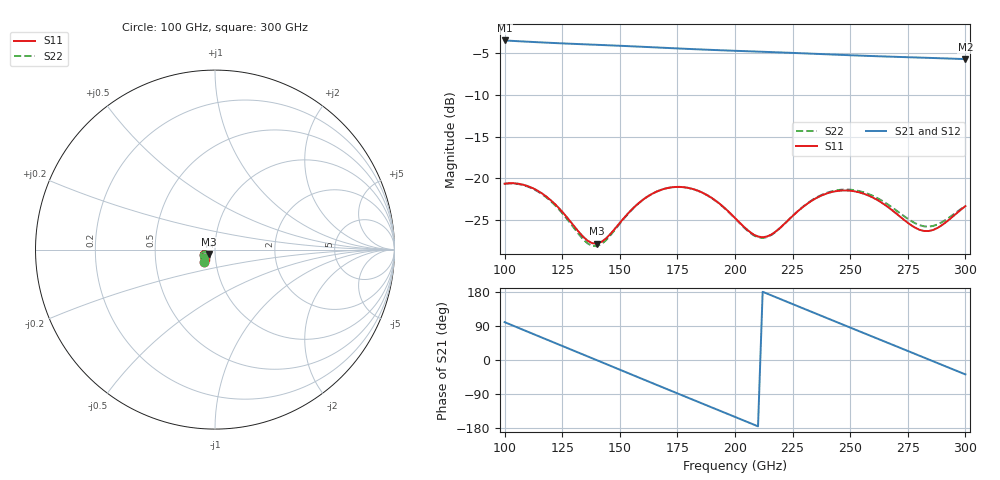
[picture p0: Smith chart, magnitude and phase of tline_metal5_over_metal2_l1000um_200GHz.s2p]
#  GHZ S DB R 50
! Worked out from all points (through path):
!   101 points, 100 GHz to 300 GHz, reference 50 ohm
!   highest |S21| = -3.52 dB at 100 GHz (marker M1); lowest = -5.7 dB at 300 GHz (marker M2)
!   group delay of S21, straight-line fit = 6.91 ps
!   lowest |S11| = -27.8 dB at 140 GHz (marker M3), VSWR 1.09, Z = 46.8 - j2.26 ohm
!   |S11| at or under -10 dB: start of sweep to end of sweep
!   |S22| runs from -28.1 to -20.6 dB; largest |S21 - S12| = 7.5e-14
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100  -20.62 -130.6  -3.52 99.9  -3.52 99.9  -20.64 -130.3
108  -20.74 -144.5  -3.64 79.8  -3.64 79.8  -20.79 -144.4
116  -21.74 -156.8  -3.75 59.7  -3.75 59.7  -21.83 -156.9
126  -24.29 -165.5  -3.88 34.6  -3.88 34.6  -24.47 -165.7
134  -26.93 -159.3  -3.97 14.6  -3.97 14.6  -27.24 -159.0
140  -27.78 -143.8  -4.04 -0.4  -4.04 -0.4  -28.09 -142.3
152  -24.66 -125.4  -4.18 -30.6  -4.18 -30.6  -24.72 -123.6
160  -22.55 -129.9  -4.28 -50.6  -4.28 -50.6  -22.56 -128.5
168  -21.35 -139.5  -4.38 -70.6  -4.38 -70.6  -21.35 -138.3
176  -21.01 -150.6  -4.48 -90.6  -4.48 -90.6  -21.01 -149.7
184  -21.47 -161.3  -4.58 -110.5  -4.58 -110.5  -21.48 -160.6
200  -24.71 -171.8  -4.75 -150.2  -4.75 -150.2  -24.77 -171.1
208  -26.68 -162.7  -4.83 -170.1  -4.83 -170.1  -26.78 -161.8
214  -26.93 -149.5  -4.89 175.0  -4.89 175.0  -27.00 -148.1
224  -24.75 -136.7  -4.99 150.1  -4.99 150.1  -24.74 -135.2
234  -22.54 -140.3  -5.10 125.2  -5.10 125.2  -22.49 -138.9
242  -21.62 -148.3  -5.19 105.4  -5.19 105.4  -21.53 -147.0
250  -21.46 -157.5  -5.28 85.6  -5.28 85.6  -21.34 -156.2
258  -22.05 -166.0  -5.36 65.8  -5.36 65.8  -21.86 -164.6
268  -23.75 -171.6  -5.46 41.1  -5.46 41.1  -23.42 -170.5
284  -26.28 -154.3  -5.60 1.6  -5.60 1.6  -25.75 -156.4
300  -23.31 -139.8  -5.74 -38.0  -5.74 -38.0  -23.27 -143.6
